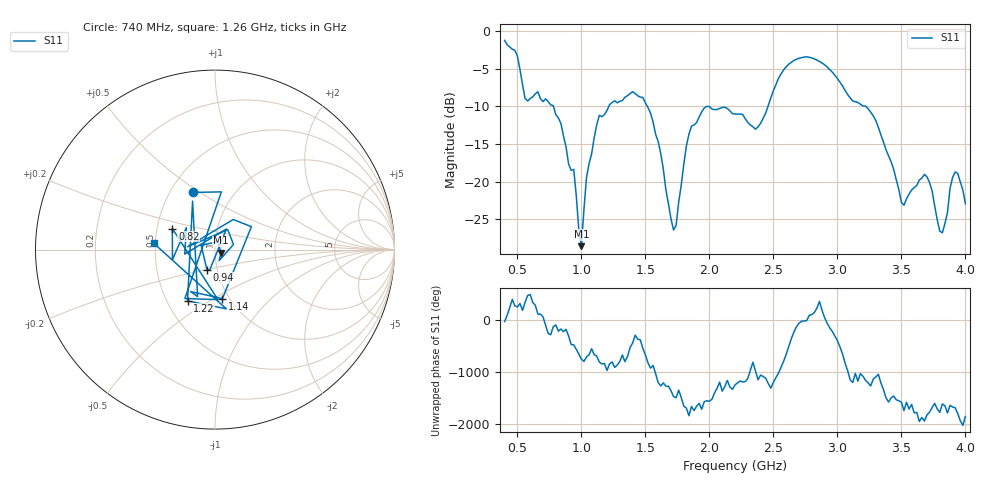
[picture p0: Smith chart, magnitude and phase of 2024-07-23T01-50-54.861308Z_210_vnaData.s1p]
!Created with skrf (http://scikit-rf.org).
# Hz S RI R 50.0
!freq ReS11 ImS11
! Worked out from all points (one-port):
!   181 points, 400 MHz to 4 GHz, reference 50 ohm
!   lowest |S11| = -28.5 dB at 1 GHz (marker M1), VSWR 1.08, Z = 53.4 - j1.87 ohm
!   |S11| at or under -10 dB: 1.515 GHz to 1.98 GHz (464.7 MHz wide, 26.6 % of centre); 1.98 GHz to 2.457 GHz (477.3 MHz wide, 21.5 % of centre); 3.222 GHz to end of sweep (the widest 3 of 4)
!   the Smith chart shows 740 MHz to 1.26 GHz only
!   S11 on the Smith chart (normalised r, x): 740 MHz: 0.65, +0.47; 820 MHz: 0.60, +0.15; 940 MHz: 0.89, -0.20; 1.14 GHz: 0.93, -0.55; 1.22 GHz: 0.63, -0.40; 1.26 GHz: 0.49, +0.04
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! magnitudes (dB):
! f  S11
! 400 MHz  -1.3
! 560 MHz  -8.9
! 740 MHz  -9.4
! 820 MHz  -11.5
! 860 MHz  -13.9
! 940 MHz  -18.4
! 1 GHz  -28.5
! 1.04 GHz  -19.4
! 1.14 GHz  -11.2
! 1.22 GHz  -9.8
! 1.26 GHz  -9.3
! 1.3 GHz  -9.3
! 1.48 GHz  -8.8
! 1.6 GHz  -14.7
! 1.72 GHz  -26.4
! 1.76 GHz  -22.7
! 1.86 GHz  -12.6
! 2.2 GHz  -11.0
! 2.36 GHz  -13.0
! 2.66 GHz  -3.9
! 3.1 GHz  -8.9
! 3.3 GHz  -11.9
! 3.5 GHz  -22.7
! 3.56 GHz  -21.6
! 3.7 GHz  -19.4
! 3.82 GHz  -26.8
! 3.92 GHz  -18.7
! 4 GHz  -22.9
